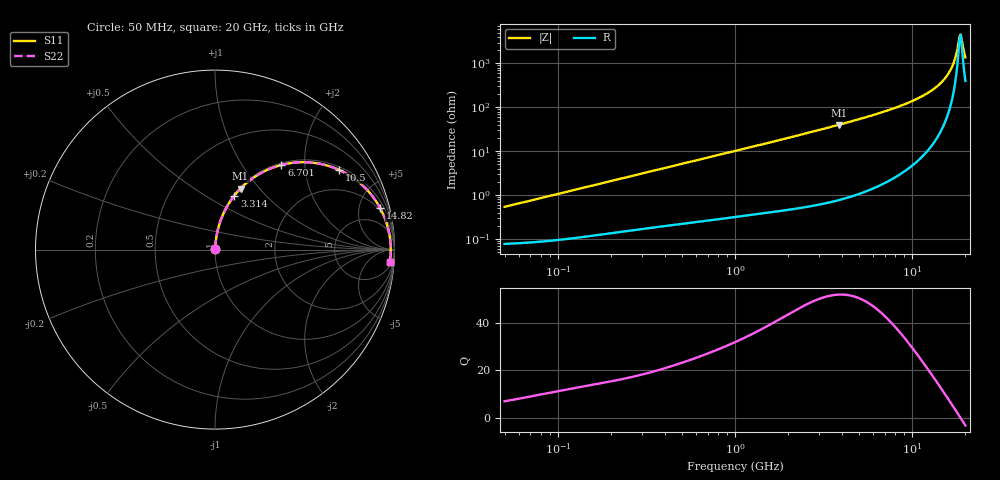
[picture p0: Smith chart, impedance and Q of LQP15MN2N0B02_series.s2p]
!Murata Part Number: LQP15MN2N0B02
!These Parameters are Measured in Series Mode Connection
!  o--[Z]--o
!Port1  Port2
!  o-------o
!Freq. Start=50[MHz] Stop=20[GHz], 401[Steps]
# Hz S RI R 50
!Freq.(Hz) S11(Real) S11(Imag) S21(Real) S21(Imag) S12(Real) S12(Imag) S22(Real) S22(Imag)
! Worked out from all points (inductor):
!   401 points, 50 MHz to 20 GHz, reference 50 ohm
!   read as one part in series: L = 1.7 nH near 51.52 MHz
!   highest Q = 52.1 at 3.85 GHz (marker M1), where L = 1.65 nH
!   self-resonance near 18.56 GHz
!   S11 on the Smith chart (normalised r, x): 50 MHz: 1.00, +0.01; 3.314 GHz: 1.01, +0.68; 6.701 GHz: 1.03, +1.52; 10.5 GHz: 1.11, +3.03; 14.82 GHz: 1.67, +7.78; 20 GHz: 9, -26
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5e7  0.000798 0.00533  0.9992 -0.00533  0.9992 -0.00533  0.000798 0.00533
1.364002e8  0.0013 0.0143  0.9987 -0.0143  0.9987 -0.0143  0.0013 0.0143
3.721004e8  0.00333 0.0379  0.9967 -0.0379  0.9967 -0.0379  0.00333 0.0379
1e9  0.0131 0.0991  0.9869 -0.0991  0.9869 -0.0991  0.0131 0.0991
2.728004e9  0.0758 0.2546  0.9242 -0.2546  0.9242 -0.2546  0.0758 0.2546
3.314454e9  0.1082 0.301  0.8918 -0.301  0.8918 -0.301  0.1082 0.301
3.850025e9  0.1421 0.3397  0.8579 -0.3397  0.8579 -0.3397  0.1421 0.3397
5.117541e9  0.2357 0.4146  0.7643 -0.4146  0.7643 -0.4146  0.2357 0.4146
6.701223e9  0.3699 0.4716  0.6301 -0.4716  0.6301 -0.4716  0.3699 0.4716
7.442007e9  0.4355 0.4838  0.5645 -0.4838  0.5645 -0.4838  0.4355 0.4838
8.907419e9  0.5633 0.4817  0.4367 -0.4817  0.4367 -0.4817  0.5633 0.4817
1.050288e10  0.6905 0.4445  0.3095 -0.4445  0.3095 -0.4445  0.6905 0.4445
1.276073e10  0.8342 0.3461  0.1658 -0.3461  0.1658 -0.3461  0.8342 0.3461
1.482269e10  0.9211 0.23  0.0789 -0.23  0.0789 -0.23  0.9211 0.23
1.597544e10  0.9515 0.1611  0.0485 -0.1611  0.0485 -0.1611  0.9515 0.1611
1.696185e10  0.9681 0.1023  0.0319 -0.1023  0.0319 -0.1023  0.9681 0.1023
1.747767e10  0.9737 0.072  0.0263 -0.072  0.0263 -0.072  0.9737 0.072
1.828096e10  0.9784 0.026  0.0216 -0.026  0.0216 -0.026  0.9784 0.026
1.855685e10  0.9791 0.0105  0.0209 -0.0105  0.0209 -0.0105  0.9791 0.0105
1.88369e10  0.9792 -0.00492  0.0208 0.00492  0.0208 0.00492  0.9792 -0.00492
1.912117e10  0.9788 -0.0204  0.0212 0.0204  0.0212 0.0204  0.9788 -0.0204
2e10  0.9748 -0.0665  0.0252 0.0665  0.0252 0.0665  0.9748 -0.0665
